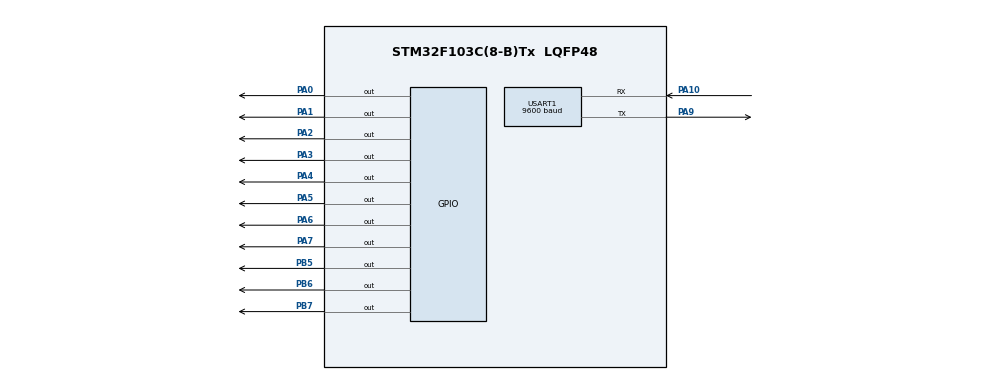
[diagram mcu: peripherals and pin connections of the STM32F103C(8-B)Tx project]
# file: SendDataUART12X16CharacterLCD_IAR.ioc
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Mcu.Family=STM32F1
Mcu.Name=STM32F103C(8-B)Tx
Mcu.Package=LQFP48
NVIC.PriorityGroup=NVIC_PRIORITYGROUP_4
PA0-WKUP.Signal=GPIO_Output
PA1.Signal=GPIO_Output
PA10.Mode=Asynchronous
PA10.Signal=USART1_RX
PA13.Mode=Serial_Wire
PA13.Signal=SYS_JTMS-SWDIO
PA14.Mode=Serial_Wire
PA14.Signal=SYS_JTCK-SWCLK
PA2.Signal=GPIO_Output
PA3.Signal=GPIO_Output
PA4.Signal=GPIO_Output
PA5.Signal=GPIO_Output
PA6.Signal=GPIO_Output
PA7.Signal=GPIO_Output
PA9.Mode=Asynchronous
PA9.Signal=USART1_TX
PB5.Signal=GPIO_Output
PB6.Signal=GPIO_Output
PB7.Signal=GPIO_Output
PD0-OSC_IN.Mode=HSE-External-Oscillator
PD0-OSC_IN.Signal=RCC_OSC_IN
PD1-OSC_OUT.Mode=HSE-External-Oscillator
PD1-OSC_OUT.Signal=RCC_OSC_OUT
ProjectManager.HeapSize=0x200
ProjectManager.StackSize=0x400
ProjectManager.TargetToolchain=EWARM V8.32
RCC.APB1Freq_Value=8000000
RCC.APB2Freq_Value=8000000
RCC.SYSCLKSource=RCC_SYSCLKSOURCE_HSE
USART1.BaudRate=9600
USART1.VirtualMode=VM_ASYNC
board=custom

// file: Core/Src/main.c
/* USER CODE BEGIN Header */
/**
  ******************************************************************************
  * @file           : main.c
  * @brief          : Main program body
  ******************************************************************************
  * @attention
  *
  * Copyright (c) 2023 STMicroelectronics.
  * All rights reserved.
  *
  * This software is licensed under terms that can be found in the LICENSE file
  * in the root directory of this software component.
  * If no LICENSE file comes with this software, it is provided AS-IS.
  *
  ******************************************************************************
  */
/* USER CODE END Header */
#include "main.h"

/* USER CODE BEGIN Includes */

#include "LCD/lcd.h"
#include <stdio.h>

/* USER CODE END Includes */

UART_HandleTypeDef huart1;

void SystemClock_Config(void);
static void MX_GPIO_Init(void);
static void MX_USART1_UART_Init(void);

/* USER CODE BEGIN 0 */
void putstr(char *p);

/* USER CODE END 0 */

int main(void)
{
  /* USER CODE BEGIN 1 */

  char str[17];
  int i = 0;

  /* USER CODE END 1 */

  /* MCU Configuration--------------------------------------------------------*/

  /* Reset of all peripherals, Initializes the Flash interface and the Systick. */
  HAL_Init();

  /* Configure the system clock */
  SystemClock_Config();

  /* Initialize all configured peripherals */
  MX_GPIO_Init();
  MX_USART1_UART_Init();
  /* USER CODE BEGIN 2 */

  lcd_init();
  lcd_clear();

  lcd_gotoxy(0,0);
  lcd_puts("  dibadigital  ");
  HAL_Delay(2000);
  lcd_clear();

  /* USER CODE END 2 */

  /* Infinite loop */
  /* USER CODE BEGIN WHILE */
  while (1)
  {
    sprintf(str,"Value = %03d",i);
    lcd_gotoxy(0,0);
    lcd_puts(str);

    sprintf(str,"Value = %03d\n",i);
    putstr(str);

    //putstr("AT+CMGS\r\n");

    i++;
    if(i >= 200)
      i = 0;

    HAL_Delay(500);

    /* USER CODE END WHILE */

  }
}

void SystemClock_Config(void)
{
  RCC_OscInitTypeDef RCC_OscInitStruct = {0};
  RCC_ClkInitTypeDef RCC_ClkInitStruct = {0};

  /** Initializes the RCC Oscillators according to the specified parameters
  * in the RCC_OscInitTypeDef structure.
  */
  RCC_OscInitStruct.OscillatorType = RCC_OSCILLATORTYPE_HSE;
  RCC_OscInitStruct.HSEState = RCC_HSE_ON;
  RCC_OscInitStruct.PLL.PLLState = RCC_PLL_NONE;
  if (HAL_RCC_OscConfig(&RCC_OscInitStruct) != HAL_OK)
  {
    Error_Handler();
  }

  /** Initializes the CPU, AHB and APB buses clocks
  */
  RCC_ClkInitStruct.ClockType = RCC_CLOCKTYPE_HCLK|RCC_CLOCKTYPE_SYSCLK
                              |RCC_CLOCKTYPE_PCLK1|RCC_CLOCKTYPE_PCLK2;
  RCC_ClkInitStruct.SYSCLKSource = RCC_SYSCLKSOURCE_HSE;
  RCC_ClkInitStruct.AHBCLKDivider = RCC_SYSCLK_DIV1;
  RCC_ClkInitStruct.APB1CLKDivider = RCC_HCLK_DIV1;
  RCC_ClkInitStruct.APB2CLKDivider = RCC_HCLK_DIV1;

  if (HAL_RCC_ClockConfig(&RCC_ClkInitStruct, FLASH_LATENCY_0) != HAL_OK)
  {
    Error_Handler();
  }
}

static void MX_USART1_UART_Init(void)
{

  huart1.Instance = USART1;
  huart1.Init.BaudRate = 9600;
  huart1.Init.WordLength = UART_WORDLENGTH_8B;
  huart1.Init.StopBits = UART_STOPBITS_1;
  huart1.Init.Parity = UART_PARITY_NONE;
  huart1.Init.Mode = UART_MODE_TX_RX;
  huart1.Init.HwFlowCtl = UART_HWCONTROL_NONE;
  huart1.Init.OverSampling = UART_OVERSAMPLING_16;
  if (HAL_UART_Init(&huart1) != HAL_OK)
  {
    Error_Handler();
  }

}

static void MX_GPIO_Init(void)
{
  GPIO_InitTypeDef GPIO_InitStruct = {0};

  /* GPIO Ports Clock Enable */
  __HAL_RCC_GPIOD_CLK_ENABLE();
  __HAL_RCC_GPIOA_CLK_ENABLE();
  __HAL_RCC_GPIOB_CLK_ENABLE();

  /*Configure GPIO pin Output Level */
  HAL_GPIO_WritePin(GPIOA, GPIO_PIN_0|GPIO_PIN_1|GPIO_PIN_2|GPIO_PIN_3
                          |GPIO_PIN_4|GPIO_PIN_5|GPIO_PIN_6|GPIO_PIN_7, GPIO_PIN_RESET);

  /*Configure GPIO pin Output Level */
  HAL_GPIO_WritePin(GPIOB, GPIO_PIN_5|GPIO_PIN_6|GPIO_PIN_7, GPIO_PIN_RESET);

  /*Configure GPIO pins : PA0 PA1 PA2 PA3
                           PA4 PA5 PA6 PA7 */
  GPIO_InitStruct.Pin = GPIO_PIN_0|GPIO_PIN_1|GPIO_PIN_2|GPIO_PIN_3
                          |GPIO_PIN_4|GPIO_PIN_5|GPIO_PIN_6|GPIO_PIN_7;
  GPIO_InitStruct.Mode = GPIO_MODE_OUTPUT_PP;
  GPIO_InitStruct.Pull = GPIO_NOPULL;
  GPIO_InitStruct.Speed = GPIO_SPEED_FREQ_LOW;
  HAL_GPIO_Init(GPIOA, &GPIO_InitStruct);

  /*Configure GPIO pins : PB5 PB6 PB7 */
  GPIO_InitStruct.Pin = GPIO_PIN_5|GPIO_PIN_6|GPIO_PIN_7;
  GPIO_InitStruct.Mode = GPIO_MODE_OUTPUT_PP;
  GPIO_InitStruct.Pull = GPIO_NOPULL;
  GPIO_InitStruct.Speed = GPIO_SPEED_FREQ_LOW;
  HAL_GPIO_Init(GPIOB, &GPIO_InitStruct);

}

/* USER CODE BEGIN 4 */

void putstr(char *p)
{
  while(*p != 0)
  {
    HAL_UART_Transmit(&huart1, (uint8_t*) p, 1, 10);
    p++;
  }
}

/* USER CODE END 4 */

void Error_Handler(void)
{
  __disable_irq();
  while (1)
  {
  }
}
